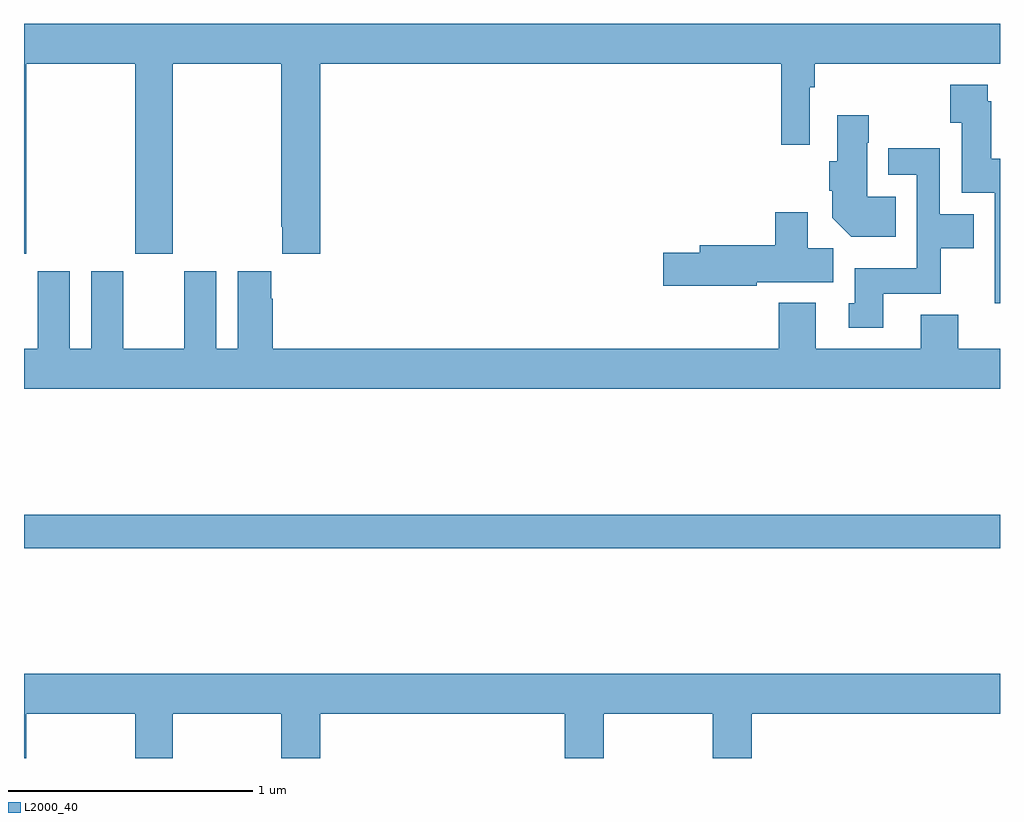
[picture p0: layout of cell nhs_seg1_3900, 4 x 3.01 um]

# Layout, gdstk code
import gdstk
lib = gdstk.Library(unit=1e-6, precision=1e-09)
def R(c, l, rs):  # rectangles x0, y0, x1, y1
    for r in rs: c.add(gdstk.rectangle(r[:2], r[2:], *l))
def P(c, l, *ps):  # polygons
    for p in ps: c.add(gdstk.Polygon(p, *l))
L2000_40 = (2000, 40)

nhs_seg1_3900 = lib.new_cell('nhs_seg1_3900')
R(nhs_seg1_3900, L2000_40, [(323,571.06,327,571.196)])
P(nhs_seg1_3900, L2000_40, [(323.01,573.044),(323.455,573.044),(323.455,572.265),(323.61,572.265),(323.61,573.044),(324.055,573.044),(324.055,572.377),(324.059,572.377),(324.059,572.265),(324.215,572.265),(324.215,573.044),(326.104,573.044),(326.104,572.712),(326.22,572.712),(326.22,572.948),(326.24,572.948),(326.24,573.044),(327,573.044),(327,573.208),(323,573.208),(323,572.265),(323.01,572.265)],
  [(327,572.655),(326.965,572.655),(326.965,572.892),(326.949,572.892),(326.949,572.959),(326.797,572.959),(326.797,572.803),(326.843,572.803),(326.843,572.516),(326.978,572.516),(326.978,572.064),(327,572.064)],
  [(326.573,572.5),(326.455,572.5),(326.455,572.72),(326.463,572.72),(326.463,572.833),(326.333,572.833),(326.333,572.646),(326.3,572.646),(326.3,572.524),(326.312,572.524),(326.312,572.414),(326.39,572.336),(326.573,572.336)],
  [(326.521,572.102),(326.757,572.102),(326.757,572.288),(326.893,572.288),(326.893,572.428),(326.754,572.428),(326.754,572.698),(326.541,572.698),(326.541,572.589),(326.658,572.589),(326.658,572.206),(326.405,572.206),(326.405,572.064),(326.381,572.064),(326.381,571.962),(326.521,571.962)],
  [(326.004,572.15),(326.317,572.15),(326.317,572.288),(326.212,572.288),(326.212,572.437),(326.078,572.437),(326.078,572.3),(325.769,572.3),(325.769,572.27),(325.62,572.27),(325.62,572.135),(326.004,572.135)],
  [(326.675,572.017),(326.675,571.876),(326.245,571.876),(326.245,572.065),(326.093,572.065),(326.093,571.876),(324.02,571.876),(324.02,572.081),(324.013,572.081),(324.013,572.194),(323.876,572.194),(323.876,571.876),(323.788,571.876),(323.788,572.194),(323.657,572.194),(323.657,571.876),(323.407,571.876),(323.407,572.194),(323.276,572.194),(323.276,571.876),(323.188,571.876),(323.188,572.194),(323.057,572.194),(323.057,571.876),(323,571.876),(323,571.712),(327,571.712),(327,571.876),(326.828,571.876),(326.828,572.017)],
  [(323.01,570.38),(323.455,570.38),(323.455,570.199),(323.61,570.199),(323.61,570.38),(324.055,570.38),(324.055,570.199),(324.215,570.199),(324.215,570.38),(325.217,570.38),(325.217,570.199),(325.377,570.199),(325.377,570.38),(325.822,570.38),(325.822,570.199),(325.982,570.199),(325.982,570.38),(327,570.38),(327,570.544),(323,570.544),(323,570.199),(323.01,570.199)])

lib.write_gds('nhs_seg1_3900.gds')
